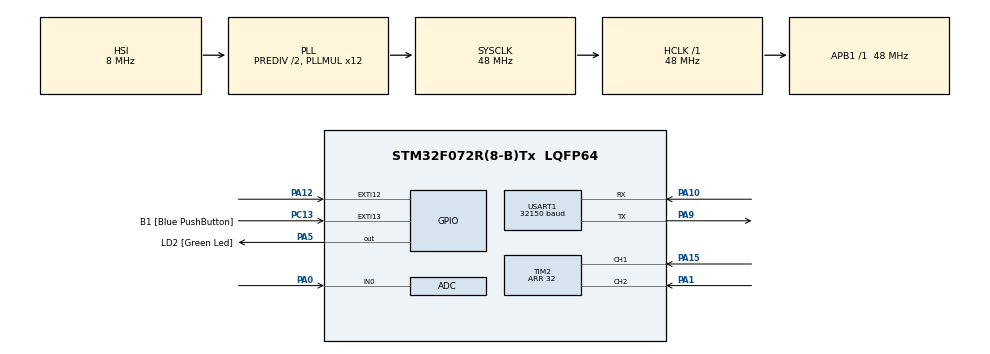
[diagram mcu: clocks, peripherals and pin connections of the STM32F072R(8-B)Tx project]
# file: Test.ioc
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Mcu.Family=STM32F0
PA2.GPIO_PuPd=GPIO_NOPULL
PA10.Mode=Asynchronous
TIM2.IC1Filter=10
USART1.BaudRate=32150
PC13.Signal=GPXTI13
PA14.GPIO_Label=TCK
PA3.GPIO_PuPd=GPIO_NOPULL
PA2.GPIO_Speed=GPIO_SPEED_FREQ_LOW
PC13.GPIO_Label=B1 [Blue PushButton]
PC14-OSC32_IN.Signal=RCC_OSC32_IN
PA3.GPIO_Speed=GPIO_SPEED_FREQ_LOW
RCC.SYSCLKSource=RCC_SYSCLKSOURCE_PLLCLK
ProjectManager.StackSize=0x400
USART1.VirtualMode-Asynchronous=VM_ASYNC
PA13.Signal=SYS_SWDIO
SH.S_TIM2_CH2.0=TIM2_CH2,Encoder_Interface
PA9.Mode=Asynchronous
PA12.Signal=GPXTI12
ProjectManager.TargetToolchain=Other Toolchains (GPDSC)
PA3.GPIO_Mode=GPIO_MODE_AF_PP
RCC.HCLKFreq_Value=48000000
PA9.Signal=USART1_TX
RCC.PLLDivider=RCC_PREDIV_DIV2
PC15-OSC32_OUT.Signal=RCC_OSC32_OUT
PA1.Signal=S_TIM2_CH2
RCC.AHBFreq_Value=48000000
PA5.Signal=GPIO_Output
board=NUCLEO-F072RB
RCC.PLLMUL=RCC_PLL_MUL12
PA5.GPIO_PuPd=GPIO_NOPULL
PA0.Mode=IN0
TIM2.Period=32
Mcu.Name=STM32F072R(8-B)Tx
PA2.Signal=USART2_TX
PA13.GPIO_Label=TMS
PA0.Signal=ADC_IN0
RCC.FLatency-AdvancedSettings=FLASH_LATENCY_1
RCC.SYSCLKFreq_VALUE=48000000
Mcu.Package=LQFP64
PA5.GPIO_Label=LD2 [Green Led]
PC13.GPIO_ModeDefaultEXTI=GPIO_MODE_IT_FALLING
PA2.GPIO_Label=USART_TX
SH.S_TIM2_CH1_ETR.0=TIM2_CH1,Encoder_Interface
PA10.Signal=USART1_RX
PA14.Signal=SYS_SWCLK
PA15.Signal=S_TIM2_CH1_ETR
ProjectManager.HeapSize=0x200
PA5.GPIO_Speed=GPIO_SPEED_FREQ_LOW
ADC.Resolution=ADC_RESOLUTION_8B
RCC.APB1TimFreq_Value=48000000
TIM2.AutoReloadPreload=TIM_AUTORELOAD_PRELOAD_ENABLE
PF0-OSC_IN.Signal=RCC_OSC_IN
RCC.APB1Freq_Value=48000000
PA5.GPIO_Mode=GPIO_MODE_OUTPUT_PP
PF1-OSC_OUT.Signal=RCC_OSC_OUT
NVIC.EXTI4_15_IRQn=true\:0\:0\:false\:false\:true\:true\:true
PA3.GPIO_Label=USART_RX
PA3.Signal=USART2_RX
PA2.GPIO_Mode=GPIO_MODE_AF_PP

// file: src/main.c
/* USER CODE BEGIN Header */
/**
  ******************************************************************************
  * @file           : main.c
  * @brief          : Main program body
  ******************************************************************************
  * @attention
  *
  * <h2><center>&copy; Copyright (c) 2020 STMicroelectronics.
  * All rights reserved.</center></h2>
  *
  * This software component is licensed by ST under BSD 3-Clause license,
  * the "License"; You may not use this file except in compliance with the
  * License. You may obtain a copy of the License at:
  *                        opensource.org/licenses/BSD-3-Clause
  *
  ******************************************************************************
  */
/* USER CODE END Header */
#include "main.h"

/* USER CODE BEGIN Includes */
#include "sysex_fm.h"
/* USER CODE END Includes */

ADC_HandleTypeDef hadc;
TIM_HandleTypeDef htim2;
UART_HandleTypeDef huart1;

/* USER CODE BEGIN PV */
uint8_t sysexMsg[163];
uint8_t val = 0;
uint8_t button = 0;
uint8_t pot = 0;
uint8_t OP_active = 0b00111111;
uint8_t noteOff[3] = {0x80, 0x40, 0x00};
/* USER CODE END PV */

void SystemClock_Config(void);
static void MX_GPIO_Init(void);
static void MX_USART1_UART_Init(void);
static void MX_ADC_Init(void);
static void MX_TIM2_Init(void);

int main(void)
{

  /* MCU Configuration--------------------------------------------------------*/

  /* Reset of all peripherals, Initializes the Flash interface and the Systick. */
  HAL_Init();

  /* Configure the system clock */
  SystemClock_Config();

  /* Initialize all configured peripherals */
  MX_GPIO_Init();
  MX_USART1_UART_Init();
  MX_ADC_Init();
  MX_TIM2_Init();
  /* USER CODE BEGIN 2 */
  HAL_TIM_Encoder_Start(&htim2, TIM_CHANNEL_ALL);
  /* USER CODE END 2 */

  /* Infinite loop */
  while (1)
  {

    /* USER CODE BEGIN 3 */
    HAL_ADC_Start(&hadc);
    	HAL_ADC_PollForConversion(&hadc, 1);
    	pot = HAL_ADC_GetValue(&hadc)/2.5;
      if (pot>99)
      {
        pot=99;
      }
      uint8_t algo = HAL_ADC_GetValue(&hadc)/8;

    //global.algorithm=TIM2->CNT; //

    sysexMsg[0] = device.status;
    sysexMsg[1] = device.ID;
    sysexMsg[2] = device.globalChannel;
    sysexMsg[3] = device.formatNumber;
    sysexMsg[4] = device.byteCountMSB;
    sysexMsg[5] = device.byteCountLSB;
    sysexMsg[6] = OP6.EG_rate_1;
    sysexMsg[7] = OP6.EG_rate_2;
    sysexMsg[8] = OP6.EG_rate_3;
    sysexMsg[9] = OP6.EG_rate_4;
    sysexMsg[10] = OP6.EG_level_1;
    sysexMsg[11] = OP6.EG_level_2;
    sysexMsg[12] = OP6.EG_level_3;
    sysexMsg[13] = OP6.EG_level_4;
    sysexMsg[14] = OP6.scale_breakPoint;
    sysexMsg[15] = OP6.scale_leftDepth;
    sysexMsg[16] = OP6.scale_rightDepth;
    sysexMsg[17] = OP6.scale_leftCurve;
    sysexMsg[18] = OP6.scale_rightCurve;
    sysexMsg[19] = OP6.scale_rate;
    sysexMsg[20] = OP6.amp_mod;
    sysexMsg[21] = OP6.key_velocity;
    sysexMsg[22] = OP6.output_level;
    sysexMsg[23] = OP6.osc_mode;
    sysexMsg[24] = OP6.freq_coarse;
    sysexMsg[25] = OP6.freq_fine;
    sysexMsg[26] = OP6.osc_detune;
    sysexMsg[27] = OP5.EG_rate_1;
    sysexMsg[28] = OP5.EG_rate_2;
    sysexMsg[29] = OP5.EG_rate_3;
    sysexMsg[30] = OP5.EG_rate_4;
    sysexMsg[31] = OP5.EG_level_1;
    sysexMsg[32] = OP5.EG_level_2;
    sysexMsg[33] = OP5.EG_level_3;
    sysexMsg[34] = OP5.EG_level_4;
    sysexMsg[35] = OP5.scale_breakPoint;
    sysexMsg[36] = OP5.scale_leftDepth;
    sysexMsg[37] = OP5.scale_rightDepth;
    sysexMsg[38] = OP5.scale_leftCurve;
    sysexMsg[39] = OP5.scale_rightCurve;
    sysexMsg[40] = OP5.scale_rate;
    sysexMsg[41] = OP5.amp_mod;
    sysexMsg[42] = OP5.key_velocity;
    sysexMsg[43] = OP5.output_level;
    sysexMsg[44] = OP5.osc_mode;
    sysexMsg[45] = OP5.freq_coarse;
    sysexMsg[46] = OP5.freq_fine;
    sysexMsg[47] = OP5.osc_detune;
    sysexMsg[48] = OP4.EG_rate_1;
    sysexMsg[49] = OP4.EG_rate_2;
    sysexMsg[50] = OP4.EG_rate_3;
    sysexMsg[51] = OP4.EG_rate_4;
    sysexMsg[52] = OP4.EG_level_1;
    sysexMsg[53] = OP4.EG_level_2;
    sysexMsg[54] = OP4.EG_level_3;
    sysexMsg[55] = OP4.EG_level_4;
    sysexMsg[56] = OP4.scale_breakPoint;
    sysexMsg[57] = OP4.scale_leftDepth;
    sysexMsg[58] = OP4.scale_rightDepth;
    sysexMsg[59] = OP4.scale_leftCurve;
    sysexMsg[60] = OP4.scale_rightCurve;
    sysexMsg[61] = OP4.scale_rate;
    sysexMsg[62] = OP4.amp_mod;
    sysexMsg[63] = OP4.key_velocity;
    sysexMsg[64] = OP4.output_level;
    sysexMsg[65] = OP4.osc_mode;
    sysexMsg[66] = OP4.freq_coarse;
    sysexMsg[67] = OP4.freq_fine;
    sysexMsg[68] = OP4.osc_detune;
    sysexMsg[69] = OP3.EG_rate_1;
    sysexMsg[70] = OP3.EG_rate_2;
    sysexMsg[71] = OP3.EG_rate_3;
    sysexMsg[72] = OP3.EG_rate_4;
    sysexMsg[73] = OP3.EG_level_1;
    sysexMsg[74] = OP3.EG_level_2;
    sysexMsg[75] = OP3.EG_level_3;
    sysexMsg[76] = OP3.EG_level_4;
    sysexMsg[77] = OP3.scale_breakPoint;
    sysexMsg[78] = OP3.scale_leftDepth;
    sysexMsg[79] = OP3.scale_rightDepth;
    sysexMsg[80] = OP3.scale_leftCurve;
    sysexMsg[81] = OP3.scale_rightCurve;
    sysexMsg[82] = OP3.scale_rate;
    sysexMsg[83] = OP3.amp_mod;
    sysexMsg[84] = OP3.key_velocity;
    sysexMsg[85] = OP3.output_level;
    sysexMsg[86] = OP3.osc_mode;
    sysexMsg[87] = OP3.freq_coarse;
    sysexMsg[88] = OP3.freq_fine;
    sysexMsg[89] = OP3.osc_detune;
    sysexMsg[90] = OP2.EG_rate_1;
    sysexMsg[91] = OP2.EG_rate_2;
    sysexMsg[92] = OP2.EG_rate_3;
    sysexMsg[93] = OP2.EG_rate_4;
    sysexMsg[94] = OP2.EG_level_1;
    sysexMsg[95] = OP2.EG_level_2;
    sysexMsg[96] = OP2.EG_level_3;
    sysexMsg[97] = OP2.EG_level_4;
    sysexMsg[98] = OP2.scale_breakPoint;
    sysexMsg[99] = OP2.scale_leftDepth;
    sysexMsg[100] = OP2.scale_rightDepth;
    sysexMsg[101] = OP2.scale_leftCurve;
    sysexMsg[102] = OP2.scale_rightCurve;
    sysexMsg[103] = OP2.scale_rate;
    sysexMsg[104] = OP2.amp_mod;
    sysexMsg[105] = OP2.key_velocity;
    sysexMsg[106] = OP2.output_level;
    sysexMsg[107] = OP2.osc_mode;
    sysexMsg[108] = OP2.freq_coarse;
    sysexMsg[109] = OP2.freq_fine;
    sysexMsg[110] = OP2.osc_detune;
    sysexMsg[111] = pot;//ßOP1.EG_rate_1;
    sysexMsg[112] = OP1.EG_rate_2;
    sysexMsg[113] = OP1.EG_rate_3;
    sysexMsg[114] = OP1.EG_rate_4;
    sysexMsg[115] = pot;//ßOP1.EG_level_1;
    sysexMsg[116] = OP1.EG_level_2;
    sysexMsg[117] = OP1.EG_level_3;
    sysexMsg[118] = OP1.EG_level_4;
    sysexMsg[119] = OP1.scale_breakPoint;
    sysexMsg[120] = OP1.scale_leftDepth;
    sysexMsg[121] = OP1.scale_rightDepth;
    sysexMsg[122] = OP1.scale_leftCurve;
    sysexMsg[123] = OP1.scale_rightCurve;
    sysexMsg[124] = OP1.scale_rate;
    sysexMsg[125] = OP1.amp_mod;
    sysexMsg[126] = OP1.key_velocity;
    sysexMsg[127] = pot;//OP1.output_level;
    sysexMsg[128] = button%2;//OP1.osc_mode;
    sysexMsg[129] = OP1.freq_coarse;
    sysexMsg[130] = OP1.freq_fine;
    sysexMsg[131] = OP1.osc_detune;
    sysexMsg[132] = global.pitch_EG_rate_1;
    sysexMsg[133] = global.pitch_EG_rate_2;
    sysexMsg[134] = global.pitch_EG_rate_3;
    sysexMsg[135] = global.pitch_EG_rate_4;
    sysexMsg[136] = global.pitch_EG_level_1;
    sysexMsg[137] = global.pitch_EG_level_2;
    sysexMsg[138] = global.pitch_EG_level_3;
    sysexMsg[139] = global.pitch_EG_level_4;
    sysexMsg[140] = algo;//val%33;// global.algorithm;
    sysexMsg[141] = global.feedback;
    sysexMsg[142] = global.osc_sync;
    sysexMsg[143] = global.LFO_speed;
    sysexMsg[144] = global.LFO_delay;
    sysexMsg[145] = global.LFO_pitchMod;
    sysexMsg[146] = global.LFO_ampMod;
    sysexMsg[147] = global.LFO_Sync;
    sysexMsg[148] = button%6;//global.LFO_Wave;
    sysexMsg[149] = global.pitch_mod;
    sysexMsg[150] = global.transpose;
    sysexMsg[151] = global.voice_name_1;
    sysexMsg[152] = global.voice_name_2;
    sysexMsg[153] = global.voice_name_3;
    sysexMsg[154] = global.voice_name_4;
    sysexMsg[155] = global.voice_name_5;
    sysexMsg[156] = global.voice_name_6;
    sysexMsg[157] = global.voice_name_7;
    sysexMsg[158] = global.voice_name_8;
    sysexMsg[159] = global.voice_name_9;
    sysexMsg[160] = global.voice_name_10;
    sysexMsg[161] = OP_active;
    sysexMsg[162] = device.end;
    HAL_UART_Transmit(&huart1, sysexMsg, 163, 100);
    HAL_UART_Transmit(&huart1, noteOff, sizeof(noteOff), 10);
    val++;
    HAL_Delay(2000);
  }
  /* USER CODE END 3 */
}

void SystemClock_Config(void)
{
  RCC_OscInitTypeDef RCC_OscInitStruct = {0};
  RCC_ClkInitTypeDef RCC_ClkInitStruct = {0};
  RCC_PeriphCLKInitTypeDef PeriphClkInit = {0};

  /** Initializes the RCC Oscillators according to the specified parameters
  * in the RCC_OscInitTypeDef structure.
  */
  RCC_OscInitStruct.OscillatorType = RCC_OSCILLATORTYPE_HSI|RCC_OSCILLATORTYPE_HSI14;
  RCC_OscInitStruct.HSIState = RCC_HSI_ON;
  RCC_OscInitStruct.HSI14State = RCC_HSI14_ON;
  RCC_OscInitStruct.HSICalibrationValue = RCC_HSICALIBRATION_DEFAULT;
  RCC_OscInitStruct.HSI14CalibrationValue = 16;
  RCC_OscInitStruct.PLL.PLLState = RCC_PLL_ON;
  RCC_OscInitStruct.PLL.PLLSource = RCC_PLLSOURCE_HSI;
  RCC_OscInitStruct.PLL.PLLMUL = RCC_PLL_MUL12;
  RCC_OscInitStruct.PLL.PREDIV = RCC_PREDIV_DIV2;
  if (HAL_RCC_OscConfig(&RCC_OscInitStruct) != HAL_OK)
  {
    Error_Handler();
  }
  /** Initializes the CPU, AHB and APB buses clocks
  */
  RCC_ClkInitStruct.ClockType = RCC_CLOCKTYPE_HCLK|RCC_CLOCKTYPE_SYSCLK
                              |RCC_CLOCKTYPE_PCLK1;
  RCC_ClkInitStruct.SYSCLKSource = RCC_SYSCLKSOURCE_PLLCLK;
  RCC_ClkInitStruct.AHBCLKDivider = RCC_SYSCLK_DIV1;
  RCC_ClkInitStruct.APB1CLKDivider = RCC_HCLK_DIV1;

  if (HAL_RCC_ClockConfig(&RCC_ClkInitStruct, FLASH_LATENCY_1) != HAL_OK)
  {
    Error_Handler();
  }
  PeriphClkInit.PeriphClockSelection = RCC_PERIPHCLK_USART1;
  PeriphClkInit.Usart1ClockSelection = RCC_USART1CLKSOURCE_PCLK1;
  if (HAL_RCCEx_PeriphCLKConfig(&PeriphClkInit) != HAL_OK)
  {
    Error_Handler();
  }
}

static void MX_ADC_Init(void)
{

  ADC_ChannelConfTypeDef sConfig = {0};

  /** Configure the global features of the ADC (Clock, Resolution, Data Alignment and number of conversion)
  */
  hadc.Instance = ADC1;
  hadc.Init.ClockPrescaler = ADC_CLOCK_ASYNC_DIV1;
  hadc.Init.Resolution = ADC_RESOLUTION_8B;
  hadc.Init.DataAlign = ADC_DATAALIGN_RIGHT;
  hadc.Init.ScanConvMode = ADC_SCAN_DIRECTION_FORWARD;
  hadc.Init.EOCSelection = ADC_EOC_SINGLE_CONV;
  hadc.Init.LowPowerAutoWait = DISABLE;
  hadc.Init.LowPowerAutoPowerOff = DISABLE;
  hadc.Init.ContinuousConvMode = DISABLE;
  hadc.Init.DiscontinuousConvMode = DISABLE;
  hadc.Init.ExternalTrigConv = ADC_SOFTWARE_START;
  hadc.Init.ExternalTrigConvEdge = ADC_EXTERNALTRIGCONVEDGE_NONE;
  hadc.Init.DMAContinuousRequests = DISABLE;
  hadc.Init.Overrun = ADC_OVR_DATA_PRESERVED;
  if (HAL_ADC_Init(&hadc) != HAL_OK)
  {
    Error_Handler();
  }
  /** Configure for the selected ADC regular channel to be converted.
  */
  sConfig.Channel = ADC_CHANNEL_0;
  sConfig.Rank = ADC_RANK_CHANNEL_NUMBER;
  sConfig.SamplingTime = ADC_SAMPLETIME_1CYCLE_5;
  if (HAL_ADC_ConfigChannel(&hadc, &sConfig) != HAL_OK)
  {
    Error_Handler();
  }

}

static void MX_TIM2_Init(void)
{

  TIM_Encoder_InitTypeDef sConfig = {0};
  TIM_MasterConfigTypeDef sMasterConfig = {0};

  htim2.Instance = TIM2;
  htim2.Init.Prescaler = 0;
  htim2.Init.CounterMode = TIM_COUNTERMODE_UP;
  htim2.Init.Period = 32;
  htim2.Init.ClockDivision = TIM_CLOCKDIVISION_DIV1;
  htim2.Init.AutoReloadPreload = TIM_AUTORELOAD_PRELOAD_DISABLE;
  sConfig.EncoderMode = TIM_ENCODERMODE_TI1;
  sConfig.IC1Polarity = TIM_ICPOLARITY_FALLING;
  sConfig.IC1Selection = TIM_ICSELECTION_DIRECTTI;
  sConfig.IC1Prescaler = TIM_ICPSC_DIV1;
  sConfig.IC1Filter = 10;
  sConfig.IC2Polarity = TIM_ICPOLARITY_FALLING;
  sConfig.IC2Selection = TIM_ICSELECTION_DIRECTTI;
  sConfig.IC2Prescaler = TIM_ICPSC_DIV1;
  sConfig.IC2Filter = 0;
  if (HAL_TIM_Encoder_Init(&htim2, &sConfig) != HAL_OK)
  {
    Error_Handler();
  }
  sMasterConfig.MasterOutputTrigger = TIM_TRGO_RESET;
  sMasterConfig.MasterSlaveMode = TIM_MASTERSLAVEMODE_DISABLE;
  if (HAL_TIMEx_MasterConfigSynchronization(&htim2, &sMasterConfig) != HAL_OK)
  {
    Error_Handler();
  }

}

static void MX_USART1_UART_Init(void)
{

  huart1.Instance = USART1;
  huart1.Init.BaudRate = 32150;
  huart1.Init.WordLength = UART_WORDLENGTH_8B;
  huart1.Init.StopBits = UART_STOPBITS_1;
  huart1.Init.Parity = UART_PARITY_NONE;
  huart1.Init.Mode = UART_MODE_TX_RX;
  huart1.Init.HwFlowCtl = UART_HWCONTROL_NONE;
  huart1.Init.OverSampling = UART_OVERSAMPLING_16;
  huart1.Init.OneBitSampling = UART_ONE_BIT_SAMPLE_DISABLE;
  huart1.AdvancedInit.AdvFeatureInit = UART_ADVFEATURE_NO_INIT;
  if (HAL_UART_Init(&huart1) != HAL_OK)
  {
    Error_Handler();
  }

}

static void MX_GPIO_Init(void)
{
  GPIO_InitTypeDef GPIO_InitStruct = {0};

  /* GPIO Ports Clock Enable */
  __HAL_RCC_GPIOC_CLK_ENABLE();
  __HAL_RCC_GPIOF_CLK_ENABLE();
  __HAL_RCC_GPIOA_CLK_ENABLE();

  /*Configure GPIO pin Output Level */
  HAL_GPIO_WritePin(LD2_GPIO_Port, LD2_Pin, GPIO_PIN_RESET);

  /*Configure GPIO pin : B1_Pin */
  GPIO_InitStruct.Pin = B1_Pin;
  GPIO_InitStruct.Mode = GPIO_MODE_IT_FALLING;
  GPIO_InitStruct.Pull = GPIO_NOPULL;
  HAL_GPIO_Init(B1_GPIO_Port, &GPIO_InitStruct);

  /*Configure GPIO pins : USART_TX_Pin USART_RX_Pin */
  GPIO_InitStruct.Pin = USART_TX_Pin|USART_RX_Pin;
  GPIO_InitStruct.Mode = GPIO_MODE_AF_PP;
  GPIO_InitStruct.Pull = GPIO_NOPULL;
  GPIO_InitStruct.Speed = GPIO_SPEED_FREQ_LOW;
  GPIO_InitStruct.Alternate = GPIO_AF1_USART2;
  HAL_GPIO_Init(GPIOA, &GPIO_InitStruct);

  /*Configure GPIO pin : LD2_Pin */
  GPIO_InitStruct.Pin = LD2_Pin;
  GPIO_InitStruct.Mode = GPIO_MODE_OUTPUT_PP;
  GPIO_InitStruct.Pull = GPIO_NOPULL;
  GPIO_InitStruct.Speed = GPIO_SPEED_FREQ_LOW;
  HAL_GPIO_Init(LD2_GPIO_Port, &GPIO_InitStruct);

  /*Configure GPIO pin : PA12 */
  GPIO_InitStruct.Pin = GPIO_PIN_12;
  GPIO_InitStruct.Mode = GPIO_MODE_IT_RISING;
  GPIO_InitStruct.Pull = GPIO_NOPULL;
  HAL_GPIO_Init(GPIOA, &GPIO_InitStruct);

  /* EXTI interrupt init*/
  HAL_NVIC_SetPriority(EXTI4_15_IRQn, 0, 0);
  HAL_NVIC_EnableIRQ(EXTI4_15_IRQn);

}

void Error_Handler(void)
{
}

/************************ (C) COPYRIGHT STMicroelectronics *****END OF FILE****/
